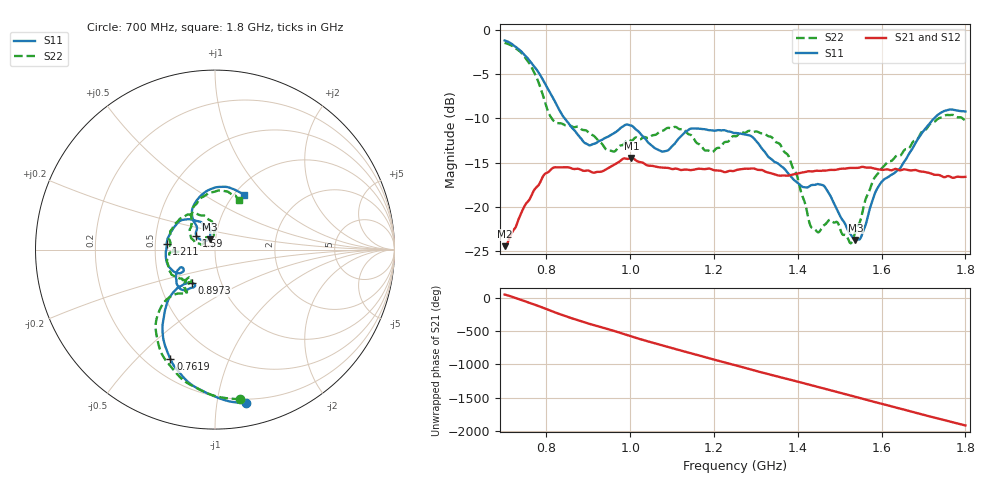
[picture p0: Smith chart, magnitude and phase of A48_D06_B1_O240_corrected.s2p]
! Created with skrf 1.9.0 (http://scikit-rf.org).
# Hz S RI R 50.0
!freq ReS11 ImS11 ReS21 ImS21 ReS12 ImS12 ReS22 ImS22
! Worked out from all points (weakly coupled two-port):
!   1601 points, 700 MHz to 1.8 GHz, reference 50 ohm
!   highest |S21| = -14.48 dB at 1.002 GHz (marker M1); lowest = -24.4 dB at 700.7 MHz (marker M2)
!   lowest |S11| = -23.7 dB at 1.537 GHz (marker M3), VSWR 1.14, Z = 46.7 + j5.4 ohm
!   |S11| at or under -10 dB: 843.4 MHz to 1.725 GHz (881.8 MHz wide, 68.7 % of centre)
!   |S22| runs from -24.1 to -1.5 dB; largest |S21 - S12| = 0.0035
!   S11 on the Smith chart (normalised r, x): 700 MHz: 0.17, -1.21; 761.9 MHz: 0.29, -0.63; 897.3 MHz: 0.73, -0.29; 1.211 GHz: 0.57, +0.04; 1.59 GHz: 0.80, +0.12; 1.8 GHz: 1.11, +0.77
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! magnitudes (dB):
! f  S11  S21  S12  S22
! 700 MHz  -1.2  -24.4  -24.2  -1.5
! 700.7 MHz  -1.2  -24.4  -24.1  -1.5
! 761.9 MHz  -3.6  -18.9  -18.9  -4.0
! 814.8 MHz  -7.6  -15.6  -15.7  -10.1
! 883.6 MHz  -12.3  -15.8  -15.7  -11.2
! 897.3 MHz  -12.9  -15.9  -15.9  -11.5
! 956.4 MHz  -11.8  -15.4  -15.4  -13.7
! 1.002 GHz  -10.8  -14.5  -14.6  -12.5
! 1.067 GHz  -13.6  -15.5  -15.5  -11.6
! 1.144 GHz  -11.2  -15.8  -15.8  -11.9
! 1.211 GHz  -11.3  -15.9  -15.9  -13.3
! 1.25 GHz  -11.7  -15.9  -15.8  -12.0
! 1.357 GHz  -15.3  -16.5  -16.4  -12.9
! 1.396 GHz  -17.1  -16.3  -16.3  -16.2
! 1.434 GHz  -17.5  -16.0  -16.0  -22.4
! 1.465 GHz  -17.8  -15.9  -15.9  -22.0
! 1.526 GHz  -23.1  -15.6  -15.6  -24.1
! 1.537 GHz  -23.7  -15.6  -15.6  -22.8
! 1.59 GHz  -17.9  -15.7  -15.7  -16.3
! 1.617 GHz  -16.6  -15.8  -15.8  -14.9
! 1.733 GHz  -9.7  -16.4  -16.4  -10.1
! 1.8 GHz  -9.2  -16.6  -16.6  -10.2
